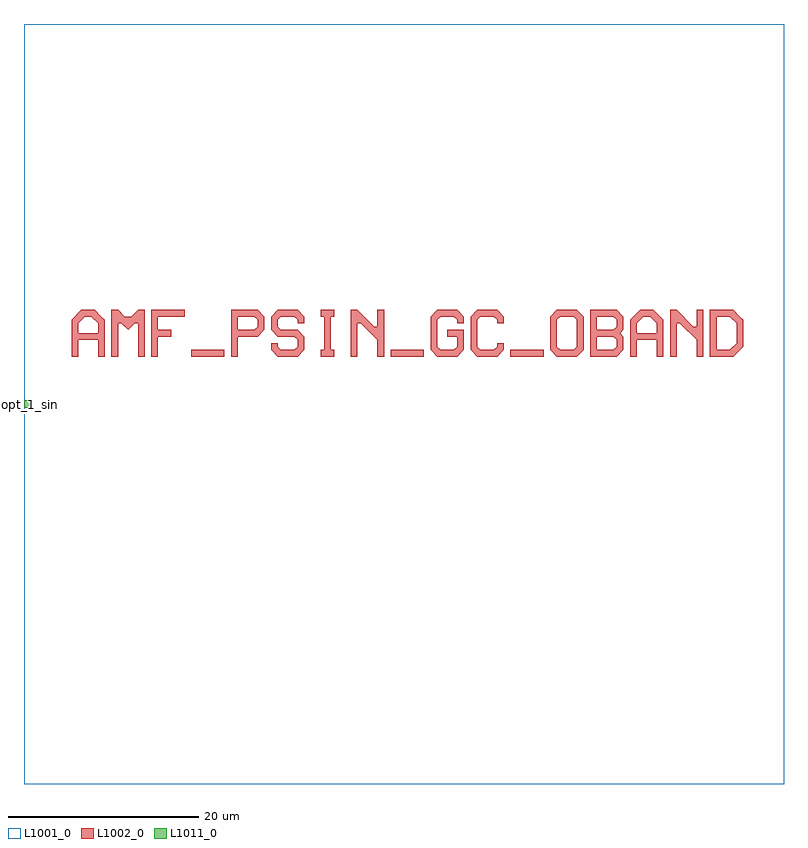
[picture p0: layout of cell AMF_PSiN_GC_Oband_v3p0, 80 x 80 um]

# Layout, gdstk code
import gdstk
lib = gdstk.Library(unit=1e-6, precision=1e-09)
def R(c, l, rs):  # rectangles x0, y0, x1, y1
    for r in rs: c.add(gdstk.rectangle(r[:2], r[2:], *l))
def P(c, l, *ps):  # polygons
    for p in ps: c.add(gdstk.Polygon(p, *l))
L1001_0 = (1001, 0)
L1002_0 = (1002, 0)
L1011_0 = (1011, 0)

amf_psin_gc_oband_v3p0 = lib.new_cell('AMF_PSiN_GC_Oband_v3p0')
R(amf_psin_gc_oband_v3p0, L1001_0, [(0,-40,80,40)])
R(amf_psin_gc_oband_v3p0, L1002_0, [(17.6,5,21.1,5.7), (38.6,5,42.1,5.7), (51.2,5,54.7,5.7)])
P(amf_psin_gc_oband_v3p0, L1002_0, [(5,5),(5,8.85),(6.05,9.9),(7.45,9.9),(8.15,9.2),(6.4,9.2),(5.7,8.5),(5.7,7.45),(7.8,7.45),(7.8,8.5),(7.1,9.2),(8.15,9.2),(8.5,8.85),(8.5,5),(7.8,5),(7.8,6.75),(5.7,6.75),(5.7,5)],
  [(9.2,5),(9.2,9.9),(9.9,9.9),(10.6,9.2),(11.3,9.2),(12,9.9),(12.7,9.9),(12.7,5),(12,5),(12,8.5),(11.65,8.5),(10.95,7.8),(10.25,8.5),(9.9,8.5),(9.9,5)],
  [(13.4,5),(13.4,9.9),(16.9,9.9),(16.9,9.2),(14.1,9.2),(14.1,7.8),(15.5,7.8),(15.5,7.1),(14.1,7.1),(14.1,5)],
  [(21.8,5),(21.8,9.9),(24.6,9.9),(25.3,9.2),(25.3,7.8),(24.6,7.1),(22.5,7.1),(22.5,7.8),(24.25,7.8),(24.6,8.15),(24.6,8.85),(24.25,9.2),(22.5,9.2),(22.5,5)],
  [(26.7,5),(26,5.7),(26,6.4),(26.7,6.4),(26.7,6.05),(27.05,5.7),(28.45,5.7),(28.8,6.05),(28.8,6.75),(28.45,7.1),(26.7,7.1),(26,7.8),(26,9.2),(26.7,9.9),(28.8,9.9),(29.5,9.2),(29.5,8.5),(28.8,8.5),(28.8,8.85),(28.45,9.2),(27.05,9.2),(26.7,8.85),(26.7,8.15),(27.05,7.8),(28.8,7.8),(29.5,7.1),(29.5,5.7),(28.8,5)],
  [(31.25,5),(31.25,5.7),(31.6,5.7),(31.6,9.2),(31.25,9.2),(31.25,9.9),(32.65,9.9),(32.65,9.2),(32.3,9.2),(32.3,5.7),(32.65,5.7),(32.65,5)],
  [(34.4,5),(34.4,9.9),(35.1,9.9),(36.85,8.15),(37.2,8.15),(37.2,9.9),(37.9,9.9),(37.9,5),(37.2,5),(37.2,6.75),(35.45,8.5),(35.1,8.5),(35.1,5)],
  [(43.5,5),(42.8,5.7),(42.8,9.2),(43.5,9.9),(45.6,9.9),(46.3,9.2),(46.3,8.5),(45.6,8.5),(45.6,8.85),(45.25,9.2),(43.85,9.2),(43.5,8.85),(43.5,6.05),(43.85,5.7),(45.25,5.7),(45.6,6.05),(45.6,7.1),(44.55,7.1),(44.55,7.8),(46.3,7.8),(46.3,5.7),(45.6,5)],
  [(47.7,5),(47,5.7),(47,9.2),(47.7,9.9),(49.8,9.9),(50.5,9.2),(50.5,8.5),(49.8,8.5),(49.8,8.85),(49.45,9.2),(48.05,9.2),(47.7,8.85),(47.7,6.05),(48.05,5.7),(49.45,5.7),(49.8,6.05),(49.8,6.4),(50.5,6.4),(50.5,5.7),(49.8,5)],
  [(56.1,5),(55.4,5.7),(55.4,9.2),(56.1,9.9),(58.2,9.9),(58.9,9.2),(58.9,7.45),(58.2,7.45),(58.2,8.85),(57.85,9.2),(56.45,9.2),(56.1,8.85),(56.1,6.05),(56.45,5.7),(57.85,5.7),(58.2,6.05),(58.2,7.45),(58.9,7.45),(58.9,5.7),(58.2,5)],
  [(59.6,5),(59.6,9.9),(62.4,9.9),(63.1,9.2),(60.3,9.2),(60.3,7.8),(62.05,7.8),(62.4,8.15),(62.4,8.85),(62.05,9.2),(63.1,9.2),(63.1,7.8),(62.75,7.45),(63.1,7.1),(60.3,7.1),(60.3,5.7),(62.05,5.7),(62.4,6.05),(62.4,6.75),(62.05,7.1),(63.1,7.1),(63.1,5.7),(62.4,5)],
  [(63.8,5),(63.8,8.85),(64.85,9.9),(66.25,9.9),(66.95,9.2),(65.2,9.2),(64.5,8.5),(64.5,7.45),(66.6,7.45),(66.6,8.5),(65.9,9.2),(66.95,9.2),(67.3,8.85),(67.3,5),(66.6,5),(66.6,6.75),(64.5,6.75),(64.5,5)],
  [(68,5),(68,9.9),(68.7,9.9),(70.45,8.15),(70.8,8.15),(70.8,9.9),(71.5,9.9),(71.5,5),(70.8,5),(70.8,6.75),(69.05,8.5),(68.7,8.5),(68.7,5)],
  [(72.2,5),(72.2,9.9),(74.65,9.9),(75.35,9.2),(72.9,9.2),(72.9,5.7),(74.3,5.7),(75,6.4),(75,8.5),(74.3,9.2),(75.35,9.2),(75.7,8.85),(75.7,6.05),(74.65,5)])
R(amf_psin_gc_oband_v3p0, L1011_0, [(0,-0.4,0.8,0.4)])
amf_psin_gc_oband_v3p0.add(gdstk.Label('opt_1_sin', (0,0), layer=1011, texttype=0))

lib.write_gds('AMF_PSiN_GC_Oband_v3p0.gds')
